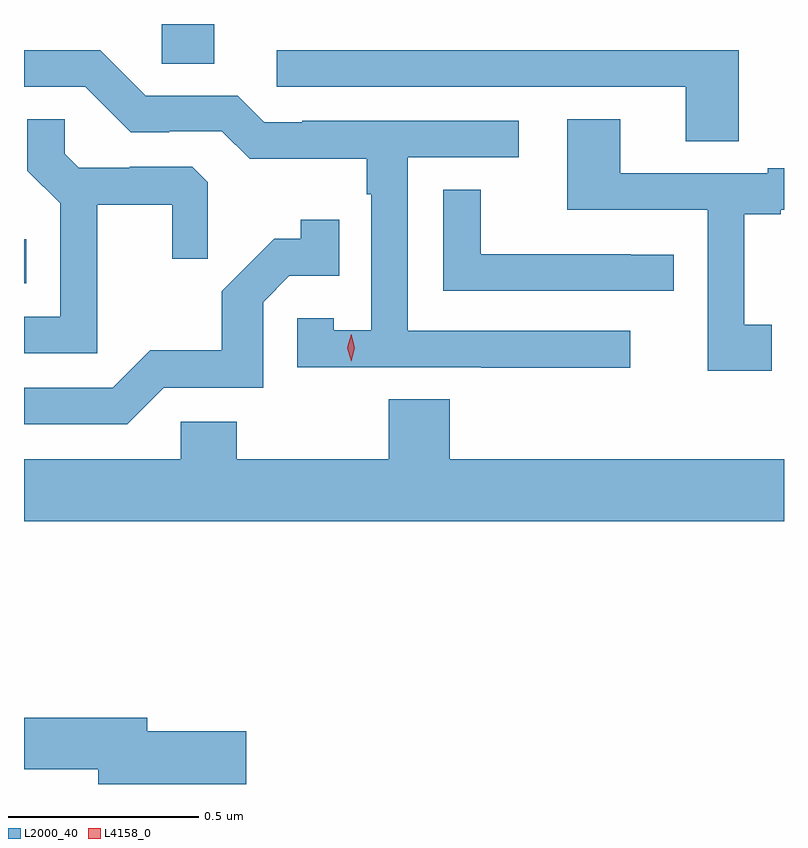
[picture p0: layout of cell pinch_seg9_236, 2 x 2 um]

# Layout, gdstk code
import gdstk
lib = gdstk.Library(unit=1e-6, precision=1e-09)
def R(c, l, rs):  # rectangles x0, y0, x1, y1
    for r in rs: c.add(gdstk.rectangle(r[:2], r[2:], *l))
def P(c, l, *ps):  # polygons
    for p in ps: c.add(gdstk.Polygon(p, *l))
L2000_40 = (2000, 40)
L4158_0 = (4158, 0)

pinch_seg9_236 = lib.new_cell('pinch_seg9_236')
R(pinch_seg9_236, L2000_40, [(418.894,1241.003,418.9,1241.119), (419.256,1241.581,419.395,1241.685)])
P(pinch_seg9_236, L2000_40, [(420.775,1241.616),(419.559,1241.616),(419.559,1241.52),(420.635,1241.52),(420.635,1241.377),(420.775,1241.377)],
  [(420.49,1240.878),(419.904,1240.878),(419.904,1241.334),(420.196,1241.334),(420.196,1241.43),(419.626,1241.43),(419.626,1241.427),(419.526,1241.427),(419.457,1241.496),(419.214,1241.496),(419.094,1241.616),(418.894,1241.616),(418.894,1241.52),(419.055,1241.52),(419.175,1241.4),(419.276,1241.4),(419.276,1241.403),(419.415,1241.403),(419.488,1241.33),(419.796,1241.33),(419.796,1241.237),(419.808,1241.237),(419.808,1240.879),(419.709,1240.879),(419.709,1240.911),(419.613,1240.911),(419.613,1240.782),(420.097,1240.782),(420.097,1240.78),(420.49,1240.78)],
  [(420.862,1240.893),(420.79,1240.893),(420.79,1241.184),(420.886,1241.184),(420.886,1241.196),(420.894,1241.196),(420.894,1241.305),(420.851,1241.305),(420.851,1241.292),(420.463,1241.292),(420.463,1241.435),(420.323,1241.435),(420.323,1241.196),(420.693,1241.196),(420.693,1240.773),(420.862,1240.773)],
  [(419.087,1241.21),(419.284,1241.21),(419.284,1241.067),(419.378,1241.067),(419.378,1241.269),(419.337,1241.31),(419.172,1241.31),(419.172,1241.307),(419.038,1241.307),(419.001,1241.344),(419.001,1241.435),(418.903,1241.435),(418.903,1241.299),(418.989,1241.213),(418.989,1240.914),(418.894,1240.914),(418.894,1240.818),(419.087,1240.818)],
  [(420.604,1241.078),(420.491,1241.078),(420.491,1241.079),(420.096,1241.079),(420.096,1241.249),(419.997,1241.249),(419.997,1240.983),(420.604,1240.983)],
  [(419.262,1240.728),(419.523,1240.728),(419.523,1240.953),(419.592,1241.022),(419.723,1241.022),(419.723,1241.17),(419.622,1241.17),(419.622,1241.12),(419.552,1241.12),(419.415,1240.982),(419.415,1240.827),(419.226,1240.827),(419.127,1240.728),(418.894,1240.728),(418.894,1240.632),(419.166,1240.632)],
  [(420.894,1240.54),(420.014,1240.54),(420.014,1240.697),(419.854,1240.697),(419.854,1240.54),(419.454,1240.54),(419.454,1240.638),(419.307,1240.638),(419.307,1240.54),(418.894,1240.54),(418.894,1240.376),(420.894,1240.376)],
  [(419.479,1239.824),(419.218,1239.824),(419.218,1239.86),(418.894,1239.86),(418.894,1239.724),(419.09,1239.724),(419.09,1239.685),(419.479,1239.685)])
P(pinch_seg9_236, L4158_0, [(419.755,1240.797),(419.755,1240.797),(419.745,1240.833),(419.755,1240.869),(419.755,1240.869),(419.755,1240.869),(419.765,1240.833),(419.755,1240.797)])

lib.write_gds('pinch_seg9_236.gds')
